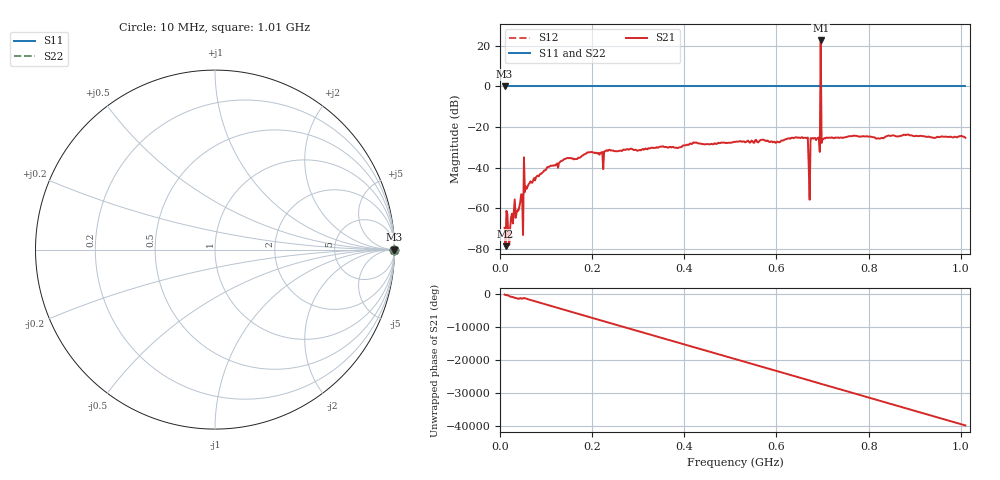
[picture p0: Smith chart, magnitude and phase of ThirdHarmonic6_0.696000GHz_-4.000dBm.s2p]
! 8/15/2025 11:14:27 PM
! C:\ANRITSUVNA\TEMP\TEMP.S2P
! CHANNEL.1
! TR.MEASUREMENT
! RAW.DATA
! RF.CORRECTION.OFF
! AVERAGING.OFF
! IF.BANDWIDTH: 5KHZ
! SWEEPTYPE:  FREQ.SWEEP(Linear)
! Reference Plane Port Info
! PORT:  PORT1  PORT2
! DISTANCE:  0  m  0  m
! TIME:  0  s  0  s
! PHASE.OFFSET:  0  deg.  0  deg.
! LOSS:  0  dB  0  dB
! REF.LOSS:  0  dB  0  dB
! REF.FREQ:  0  Hz  0  Hz
! Power Info
! POWER:  -20  dBm  -20  dBm
! EFF.POWER:  -20  dBm  -20  dBm
! SOURCE.ATTEN:  0  dB  0  dB
! TEST.ATTEN:  0  dB  0  dB
# GHZ S RI R 50.0
! FREQ.GHZ  S11RE  S11IM  S21RE  S21IM  S12RE  S12IM  S22RE  S22IM
!; PortSelection: Port_12
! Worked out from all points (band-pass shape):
!   501 points, 10 MHz to 1.01 GHz, reference 50 ohm
!   highest |S21| = 22.66 dB at 696 MHz (marker M1); lowest = -78.7 dB at 12 MHz (marker M2)
!   |S21| within 3 dB of the highest: 695.8908 MHz to 696.1188 MHz (228 kHz wide, 0.0328 % of centre)
!   lowest |S11| = 0.0 dB at 10 MHz (marker M3)
!   |S11| at or under -10 dB: nowhere
!   |S22| runs from 0.0 to 0.0 dB; largest |S21 - S12| = 15
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0.01  1 0  -0.000151 -0.000294  1 0  1 0
0.012  1 0  -1.74e-05 0.000115  1 0  1 0
0.022  1 0  0.000316 -6.67e-05  1 0  1 0
0.028  1 0  -0.000344 -0.000243  1 0  1 0
0.046  1 0  -0.00208 0.000753  1 0  1 0
0.056  1 0  -0.00259 0.00225  1 0  1 0
0.058  1 0  0.00277 0.00125  1 0  1 0
0.106  1 0  -0.00771 -0.00699  1 0  1 0
0.178  1 0  -0.0191 -0.00421  1 0  1 0
0.344  1 0  0.0306 -0.00675  1 0  1 0
0.51  1 0  -0.0398 0.0161  1 0  1 0
0.664  1 0  0.00584 0.0539  1 0  1 0
0.668  1 0  0.0112 -0.0541  1 0  1 0
0.674  1 0  0.0401 0.035  1 0  1 0
0.678  1 0  -0.0256 -0.0469  1 0  1 0
0.69  1 0  -0.0244 0.0485  1 0  1 0
0.692  1 0  0.0447 0.0328  1 0  1 0
0.696  1 0  -13.58 -0.4267  1 0  1 0
0.7  1 0  0.0151 0.048  1 0  1 0
0.702  1 0  0.0506 -0.00532  1 0  1 0
0.844  1 0  0.0464 0.0407  1 0  1 0
1.01  1 0  -0.0531 -0.0115  1 0  1 0
